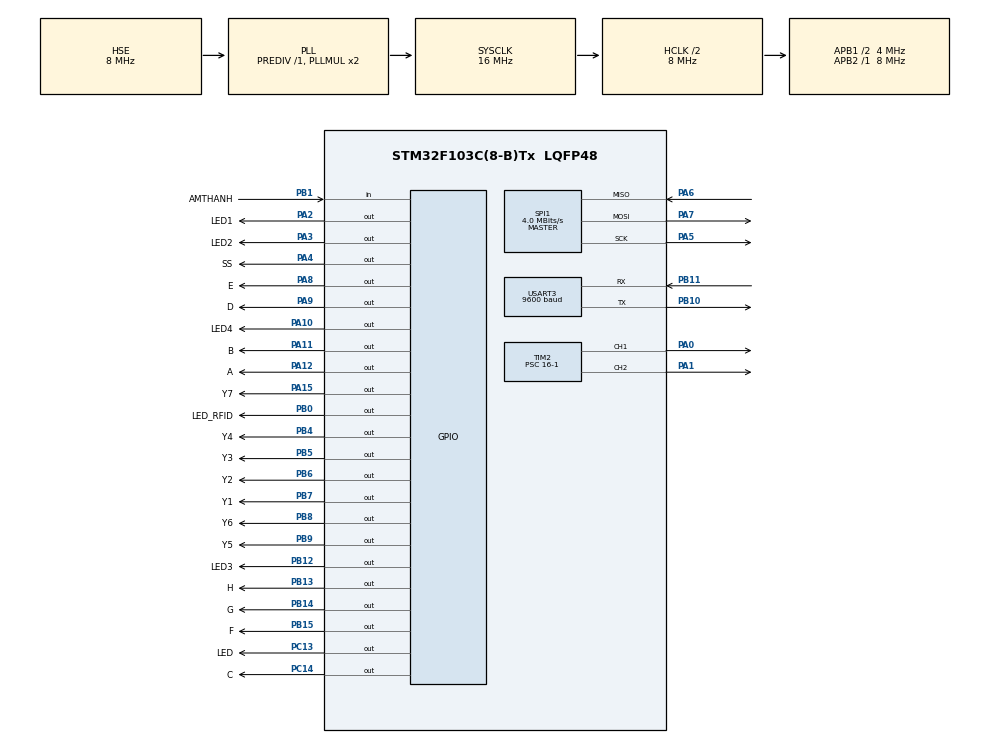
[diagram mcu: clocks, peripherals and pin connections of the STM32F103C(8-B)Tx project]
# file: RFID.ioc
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Mcu.Family=STM32F1
NVIC.USART3_IRQn=true\:0\:0\:false\:false\:true\:true\:true
PA6.Mode=Full_Duplex_Master
SPI1.VirtualType=VM_MASTER
PB10.Mode=Asynchronous
PB14.GPIO_Label=G
PB0.GPIO_Label=LED_RFID
PB6.GPIO_Label=Y2
TIM2.Channel-PWM\ Generation2\ CH2=TIM_CHANNEL_2
PB13.GPIO_Label=H
PB11.Signal=USART3_RX
PB13.Signal=GPIO_Output
PB15.Signal=GPIO_Output
RCC.SYSCLKSource=RCC_SYSCLKSOURCE_PLLCLK
ProjectManager.StackSize=0x400
PD1-OSC_OUT.Signal=RCC_OSC_OUT
PA15.GPIO_Label=Y7
PA12.Signal=GPIO_Output
USART3.BaudRate=9600
SPI1.Direction=SPI_DIRECTION_2LINES
PB1.GPIO_PuPd=GPIO_PULLDOWN
RCC.HCLKFreq_Value=8000000
RCC.APB2TimFreq_Value=8000000
PB6.Signal=GPIO_Output
SPI1.CalculateBaudRate=4.0 MBits/s
RCC.AHBFreq_Value=8000000
PB12.GPIO_Label=LED3
PA14.Mode=Serial_Wire
PB1.GPIO_Label=AMTHANH
NVIC.TIM2_IRQn=true\:0\:0\:false\:false\:true\:true\:true
PA10.GPIO_Label=LED4
PB7.Signal=GPIO_Output
PA8.Signal=GPIO_Output
TIM2.Channel-PWM\ Generation1\ CH1=TIM_CHANNEL_1
PB7.GPIO_Label=Y1
Mcu.Package=LQFP48
PB9.Signal=GPIO_Output
TIM2.Prescaler=16-1
PB1.Signal=GPIO_Input
PA6.Signal=SPI1_MISO
PA2.GPIO_Label=LED1
PA10.Signal=GPIO_Output
PA15.Signal=GPIO_Output
PB5.GPIO_Label=Y3
RCC.APB1TimFreq_Value=8000000
PC14-OSC32_IN.GPIO_Label=C
SPI1.BaudRatePrescaler=SPI_BAUDRATEPRESCALER_2
PA4.GPIO_Label=SS
PB4.Signal=GPIO_Output
PA3.Signal=GPIO_Output
PA5.Mode=Full_Duplex_Master
RCC.PLLSourceVirtual=RCC_PLLSOURCE_HSE
PA7.Mode=Full_Duplex_Master
PD1-OSC_OUT.Mode=HSE-External-Oscillator
PB9.GPIO_Label=Y5
PA9.GPIO_Label=D
PC13-TAMPER-RTC.Signal=GPIO_Output
PA11.GPIO_Label=B
PD0-OSC_IN.Signal=RCC_OSC_IN
RCC.APB1CLKDivider=RCC_HCLK_DIV2
PC14-OSC32_IN.Signal=GPIO_Output
PA12.GPIO_Label=A
PA0-WKUP.Signal=S_TIM2_CH1_ETR
PA13.Signal=SYS_JTMS-SWDIO
PB8.GPIO_Label=Y6
SH.S_TIM2_CH2.0=TIM2_CH2,PWM Generation2 CH2
PA8.GPIO_Label=E
PB11.Mode=Asynchronous
ProjectManager.TargetToolchain=STM32CubeIDE
PA9.Signal=GPIO_Output
RCC.USBFreq_Value=16000000
PA1.Signal=S_TIM2_CH2
PD0-OSC_IN.Mode=HSE-External-Oscillator
PB10.Signal=USART3_TX
PB14.Signal=GPIO_Output
PA5.Signal=SPI1_SCK
board=custom
PC13-TAMPER-RTC.GPIO_Label=LED
RCC.APB2Freq_Value=8000000
PB4.GPIO_Label=Y4
PB15.GPIO_Label=F
VP_TIM2_VS_ClockSourceINT.Mode=Internal
SPI1.Mode=SPI_MODE_MASTER
RCC.AHBCLKDivider=RCC_SYSCLK_DIV2
TIM2.Period=10000-1
PA13.Mode=Serial_Wire
Mcu.Name=STM32F103C(8-B)Tx
PA2.Signal=GPIO_Output
PA4.Signal=GPIO_Output
RCC.SYSCLKFreq_VALUE=16000000
PB5.Signal=GPIO_Output
USART3.VirtualMode=VM_ASYNC
PA11.Signal=GPIO_Output
SH.S_TIM2_CH1_ETR.0=TIM2_CH1,PWM Generation1 CH1
PA14.Signal=SYS_JTCK-SWCLK
ProjectManager.HeapSize=0x200
NVIC.PriorityGroup=NVIC_PRIORITYGROUP_4
PB8.Signal=GPIO_Output
RCC.APB1Freq_Value=4000000
PB0.Signal=GPIO_Output
PB12.Signal=GPIO_Output
PA3.GPIO_Label=LED2
PA7.Signal=SPI1_MOSI

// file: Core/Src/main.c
/* USER CODE BEGIN Header */
/**
 ******************************************************************************
 * @file           : main.c
 * @brief          : Main program body
 ******************************************************************************
 * @attention
 *
 * <h2><center>&copy; Copyright (c) 2023 STMicroelectronics.
 * All rights reserved.</center></h2>
 *
 * This software component is licensed by ST under BSD 3-Clause license,
 * the "License"; You may not use this file except in compliance with the
 * License. You may obtain a copy of the License at:
 *                        opensource.org/licenses/BSD-3-Clause
 *
 ******************************************************************************
 */
/* USER CODE END Header */
#include "main.h"

/* USER CODE BEGIN Includes */
#include "rc522.h"
#include "stdio.h"
#include "string.h"
/* USER CODE END Includes */

SPI_HandleTypeDef hspi1;

TIM_HandleTypeDef htim2;

UART_HandleTypeDef huart3;

void SystemClock_Config(void);
static void MX_GPIO_Init(void);
static void MX_SPI1_Init(void);
static void MX_TIM2_Init(void);
static void MX_USART3_UART_Init(void);

/* USER CODE BEGIN 0 */
uint8_t CardID[5];
uint8_t CardID_s[5];
uint8_t MyID1[5] = { 0x26, 0x35, 0xaf, 0xac, 0xb3 };
uint8_t MyID2[5] = { 0x26, 0xfc, 0x5, 0xad, 0x11 };
uint8_t MyID3[5] = { 0x26, 0x52, 0xe, 0xad, 0x24 };
uint8_t MyID4[5] = { 0x26, 0x36, 0xf, 0xad, 0x11 };
uint8_t MyID5[5] = { 0x26, 0x5, 0x94, 0xac, 0x8 };

uint8_t Status = 0;
uint8_t Status1 = 0;
uint8_t Status2 = 0;
uint8_t Status3 = 0;
uint8_t Status4 = 0;
uint8_t Status5 = 0;

uint32_t t_prev = 0;
uint32_t t_prev2 = 0;
uint32_t t_prev3 = 0;
uint8_t DataRx[20];
uint8_t bufferRx[32];
uint8_t indexx;
uint8_t flag_Rx = 0;
uint8_t num = 0, num1 = 0, num2 = 0, num3 = 0, num4 = 0, num5 = 0;
void check_out() {
	if (strcmp((char*) DataRx, "1\r\n") == 0) {
		num1 = 0;
	} else if (strcmp((char*) DataRx, "2\r\n") == 0) {
		num2 = 0;
	} else if (strcmp((char*) DataRx, "3\r\n") == 0) {
		num3 = 0;
	} else if (strcmp((char*) DataRx, "4\r\n") == 0) {
		num4 = 0;
	}
	num--;
	if (num == 0) {
		num = 0;
	}
	t_prev3 = HAL_GetTick();
	Status2 = 1;
}
void HAL_UARTEx_RxEventCallback(UART_HandleTypeDef *huart, uint16_t Size) {
	flag_Rx = 1;

	HAL_UARTEx_ReceiveToIdle_IT(&huart3, DataRx, sizeof(DataRx));
}
uint8_t segmentNumber[10] = { 0xC0, 0xF9, 0xA4, 0xB0, 0x99, 0x92, 0x82, 0xF8,
		0x80, 0x90 };

void NumWrite(uint8_t number) {
	HAL_GPIO_WritePin(A_GPIO_Port, A_Pin, ((number >> 0) & 0x01));
	HAL_GPIO_WritePin(B_GPIO_Port, B_Pin, ((number >> 1) & 0x01));
	HAL_GPIO_WritePin(C_GPIO_Port, C_Pin, ((number >> 2) & 0x01));
	HAL_GPIO_WritePin(D_GPIO_Port, D_Pin, ((number >> 3) & 0x01));
	HAL_GPIO_WritePin(E_GPIO_Port, E_Pin, ((number >> 4) & 0x01));
	HAL_GPIO_WritePin(F_GPIO_Port, F_Pin, ((number >> 5) & 0x01));
	HAL_GPIO_WritePin(G_GPIO_Port, G_Pin, ((number >> 6) & 0x01));
}
void servo_in_ON() {
	__HAL_TIM_SET_COMPARE(&htim2, TIM_CHANNEL_2, 750);  // duty cycle is 2ms
}
void servo_in_OFF() {
	__HAL_TIM_SET_COMPARE(&htim2, TIM_CHANNEL_2, 250);  // duty cycle is 1 ms
}
int a = 1;
int b = 1;
int c = 1;
int d = 1;
uint8_t loa5;
uint64_t time;
/* USER CODE END 0 */

int main(void)
{

  /* MCU Configuration--------------------------------------------------------*/

  /* Reset of all peripherals, Initializes the Flash interface and the Systick. */
  HAL_Init();

  /* Configure the system clock */
  SystemClock_Config();

  /* Initialize all configured peripherals */
  MX_GPIO_Init();
  MX_SPI1_Init();
  MX_TIM2_Init();
  MX_USART3_UART_Init();
  /* USER CODE BEGIN 2 */

	HAL_GPIO_WritePin(A_GPIO_Port, A_Pin, 0);
	HAL_GPIO_WritePin(B_GPIO_Port, B_Pin, 0);
	HAL_GPIO_WritePin(C_GPIO_Port, C_Pin, 0);
	HAL_GPIO_WritePin(D_GPIO_Port, D_Pin, 0);
	HAL_GPIO_WritePin(E_GPIO_Port, E_Pin, 0);
	HAL_GPIO_WritePin(F_GPIO_Port, F_Pin, 0);
	HAL_GPIO_WritePin(G_GPIO_Port, G_Pin, 0);
	//HAL_GPIO_WritePin(H_GPIO_Port, H_Pin, 0);

	HAL_UARTEx_ReceiveToIdle_IT(&huart3, DataRx, sizeof(DataRx));

	HAL_TIM_PWM_Start(&htim2, TIM_CHANNEL_2);
	TM_MFRC522_Init();
	HAL_GPIO_WritePin(LED_GPIO_Port, LED_Pin, 2);

	HAL_GPIO_WritePin(Y1_GPIO_Port, Y1_Pin, 1);
	HAL_GPIO_WritePin(Y2_GPIO_Port, Y2_Pin, 1);
	HAL_GPIO_WritePin(Y3_GPIO_Port, Y3_Pin, 1);
	HAL_GPIO_WritePin(Y4_GPIO_Port, Y4_Pin, 1);
	HAL_GPIO_WritePin(Y5_GPIO_Port, Y5_Pin, 1);
	HAL_GPIO_WritePin(Y6_GPIO_Port, Y4_Pin, 1);
	HAL_GPIO_WritePin(Y7_GPIO_Port, Y5_Pin, 1);
  /* USER CODE END 2 */

  /* Infinite loop */
  /* USER CODE BEGIN WHILE */
	while (1) {
		if (flag_Rx == 1) {
			check_out();
			memset(DataRx, 0, strlen((char*) DataRx));
			flag_Rx = 0;
		}
		if (HAL_GetTick() - t_prev >= 100) {
			num = num1 + num2 + num3 + num4 + num5;
			if (!TM_MFRC522_Request(PICC_REQIDL, CardID)) {
				if (!TM_MFRC522_Anticoll(CardID)) {
					if (TM_MFRC522_Compare(CardID, MyID1) != MI_OK
							&& TM_MFRC522_Compare(CardID, MyID2) != MI_OK
							&& TM_MFRC522_Compare(CardID, MyID3) != MI_OK
							&& TM_MFRC522_Compare(CardID, MyID4) != MI_OK
							&& TM_MFRC522_Compare(CardID, MyID5) != MI_OK) {
						Status = 1;
						HAL_GPIO_WritePin(Y7_GPIO_Port, Y7_Pin, 0);
					}
					if (num >= 4) {
						Status1 = 1;
						HAL_GPIO_WritePin(Y6_GPIO_Port, Y6_Pin, 0);
					} else {
						if (TM_MFRC522_Compare(CardID, MyID1) == MI_OK) {
							HAL_GPIO_WritePin(LED1_GPIO_Port, LED1_Pin, 1);
							servo_in_ON();
							num1 = 1;
							Status1 = 1;
							HAL_GPIO_WritePin(Y1_GPIO_Port, Y1_Pin, 0);
						} else if (TM_MFRC522_Compare(CardID, MyID2) == MI_OK) {
							HAL_GPIO_WritePin(LED2_GPIO_Port, LED2_Pin, 1);
							servo_in_ON();
							num2 = 1;
							Status1 = 1;
							HAL_GPIO_WritePin(Y2_GPIO_Port, Y2_Pin, 0);
						} else if (TM_MFRC522_Compare(CardID, MyID3) == MI_OK) {
							HAL_GPIO_WritePin(LED3_GPIO_Port, LED3_Pin, 1);
							servo_in_ON();
							num3 = 1;
							Status1 = 1;
							HAL_GPIO_WritePin(Y3_GPIO_Port, Y3_Pin, 0);
						} else if (TM_MFRC522_Compare(CardID, MyID4) == MI_OK) {
							HAL_GPIO_WritePin(LED4_GPIO_Port, LED4_Pin, 1);
							servo_in_ON();
							num4 = 1;
							Status1 = 1;
							HAL_GPIO_WritePin(Y4_GPIO_Port, Y4_Pin, 0);
						} else if (TM_MFRC522_Compare(CardID, MyID5) == MI_OK) {
							HAL_GPIO_WritePin(LED4_GPIO_Port, LED4_Pin, 1);
							servo_in_ON();
							num5 = 1;
							Status1 = 1;
							HAL_GPIO_WritePin(Y4_GPIO_Port, Y4_Pin, 0);
						}
					}

				}
				t_prev2 = HAL_GetTick();
			}
			Status1 = 1;
			t_prev = HAL_GetTick();
		}
		NumWrite(segmentNumber[num]);
		if (Status2 == 1) {
			HAL_GPIO_WritePin(Y5_GPIO_Port, Y5_Pin, 0);
			if (HAL_GetTick() - t_prev3 >= 100) {
				Status2 = 0;
				HAL_GPIO_WritePin(Y5_GPIO_Port, Y5_Pin, 1);
				t_prev3 = HAL_GetTick();
			}
		}
		if (Status1 == 1) {
			if (HAL_GetTick() - t_prev2 >= 5000) {			// 5000
				HAL_GPIO_WritePin(LED1_GPIO_Port, LED1_Pin, 0);
				HAL_GPIO_WritePin(LED2_GPIO_Port, LED2_Pin, 0);
				HAL_GPIO_WritePin(LED3_GPIO_Port, LED3_Pin, 0);
				HAL_GPIO_WritePin(LED4_GPIO_Port, LED4_Pin, 0);
				HAL_GPIO_WritePin(Y1_GPIO_Port, Y1_Pin, 1);
				HAL_GPIO_WritePin(Y2_GPIO_Port, Y2_Pin, 1);
				HAL_GPIO_WritePin(Y3_GPIO_Port, Y3_Pin, 1);
				HAL_GPIO_WritePin(Y4_GPIO_Port, Y4_Pin, 1);
				HAL_GPIO_WritePin(Y5_GPIO_Port, Y5_Pin, 1);
				HAL_GPIO_WritePin(Y6_GPIO_Port, Y6_Pin, 1);
				HAL_GPIO_WritePin(Y7_GPIO_Port, Y7_Pin, 1);
				servo_in_OFF();
				HAL_GPIO_WritePin(LED_GPIO_Port, LED_Pin, 1);
				t_prev2 = HAL_GetTick();

				memset(CardID, 0, strlen((char*) CardID));
				Status1 = 0;
			}
		}

	}
    /* USER CODE END WHILE */

}

void SystemClock_Config(void)
{
  RCC_OscInitTypeDef RCC_OscInitStruct = {0};
  RCC_ClkInitTypeDef RCC_ClkInitStruct = {0};

  /** Initializes the RCC Oscillators according to the specified parameters
  * in the RCC_OscInitTypeDef structure.
  */
  RCC_OscInitStruct.OscillatorType = RCC_OSCILLATORTYPE_HSE;
  RCC_OscInitStruct.HSEState = RCC_HSE_ON;
  RCC_OscInitStruct.HSEPredivValue = RCC_HSE_PREDIV_DIV1;
  RCC_OscInitStruct.HSIState = RCC_HSI_ON;
  RCC_OscInitStruct.PLL.PLLState = RCC_PLL_ON;
  RCC_OscInitStruct.PLL.PLLSource = RCC_PLLSOURCE_HSE;
  RCC_OscInitStruct.PLL.PLLMUL = RCC_PLL_MUL2;
  if (HAL_RCC_OscConfig(&RCC_OscInitStruct) != HAL_OK)
  {
    Error_Handler();
  }
  /** Initializes the CPU, AHB and APB buses clocks
  */
  RCC_ClkInitStruct.ClockType = RCC_CLOCKTYPE_HCLK|RCC_CLOCKTYPE_SYSCLK
                              |RCC_CLOCKTYPE_PCLK1|RCC_CLOCKTYPE_PCLK2;
  RCC_ClkInitStruct.SYSCLKSource = RCC_SYSCLKSOURCE_PLLCLK;
  RCC_ClkInitStruct.AHBCLKDivider = RCC_SYSCLK_DIV2;
  RCC_ClkInitStruct.APB1CLKDivider = RCC_HCLK_DIV2;
  RCC_ClkInitStruct.APB2CLKDivider = RCC_HCLK_DIV1;

  if (HAL_RCC_ClockConfig(&RCC_ClkInitStruct, FLASH_LATENCY_0) != HAL_OK)
  {
    Error_Handler();
  }
}

static void MX_SPI1_Init(void)
{

  /* SPI1 parameter configuration*/
  hspi1.Instance = SPI1;
  hspi1.Init.Mode = SPI_MODE_MASTER;
  hspi1.Init.Direction = SPI_DIRECTION_2LINES;
  hspi1.Init.DataSize = SPI_DATASIZE_8BIT;
  hspi1.Init.CLKPolarity = SPI_POLARITY_LOW;
  hspi1.Init.CLKPhase = SPI_PHASE_1EDGE;
  hspi1.Init.NSS = SPI_NSS_SOFT;
  hspi1.Init.BaudRatePrescaler = SPI_BAUDRATEPRESCALER_2;
  hspi1.Init.FirstBit = SPI_FIRSTBIT_MSB;
  hspi1.Init.TIMode = SPI_TIMODE_DISABLE;
  hspi1.Init.CRCCalculation = SPI_CRCCALCULATION_DISABLE;
  hspi1.Init.CRCPolynomial = 10;
  if (HAL_SPI_Init(&hspi1) != HAL_OK)
  {
    Error_Handler();
  }

}

static void MX_TIM2_Init(void)
{

  TIM_ClockConfigTypeDef sClockSourceConfig = {0};
  TIM_MasterConfigTypeDef sMasterConfig = {0};
  TIM_OC_InitTypeDef sConfigOC = {0};

  htim2.Instance = TIM2;
  htim2.Init.Prescaler = 16-1;
  htim2.Init.CounterMode = TIM_COUNTERMODE_UP;
  htim2.Init.Period = 10000-1;
  htim2.Init.ClockDivision = TIM_CLOCKDIVISION_DIV1;
  htim2.Init.AutoReloadPreload = TIM_AUTORELOAD_PRELOAD_DISABLE;
  if (HAL_TIM_Base_Init(&htim2) != HAL_OK)
  {
    Error_Handler();
  }
  sClockSourceConfig.ClockSource = TIM_CLOCKSOURCE_INTERNAL;
  if (HAL_TIM_ConfigClockSource(&htim2, &sClockSourceConfig) != HAL_OK)
  {
    Error_Handler();
  }
  if (HAL_TIM_PWM_Init(&htim2) != HAL_OK)
  {
    Error_Handler();
  }
  sMasterConfig.MasterOutputTrigger = TIM_TRGO_RESET;
  sMasterConfig.MasterSlaveMode = TIM_MASTERSLAVEMODE_DISABLE;
  if (HAL_TIMEx_MasterConfigSynchronization(&htim2, &sMasterConfig) != HAL_OK)
  {
    Error_Handler();
  }
  sConfigOC.OCMode = TIM_OCMODE_PWM1;
  sConfigOC.Pulse = 0;
  sConfigOC.OCPolarity = TIM_OCPOLARITY_HIGH;
  sConfigOC.OCFastMode = TIM_OCFAST_DISABLE;
  if (HAL_TIM_PWM_ConfigChannel(&htim2, &sConfigOC, TIM_CHANNEL_1) != HAL_OK)
  {
    Error_Handler();
  }
  if (HAL_TIM_PWM_ConfigChannel(&htim2, &sConfigOC, TIM_CHANNEL_2) != HAL_OK)
  {
    Error_Handler();
  }
  HAL_TIM_MspPostInit(&htim2);

}

static void MX_USART3_UART_Init(void)
{

  huart3.Instance = USART3;
  huart3.Init.BaudRate = 9600;
  huart3.Init.WordLength = UART_WORDLENGTH_8B;
  huart3.Init.StopBits = UART_STOPBITS_1;
  huart3.Init.Parity = UART_PARITY_NONE;
  huart3.Init.Mode = UART_MODE_TX_RX;
  huart3.Init.HwFlowCtl = UART_HWCONTROL_NONE;
  huart3.Init.OverSampling = UART_OVERSAMPLING_16;
  if (HAL_UART_Init(&huart3) != HAL_OK)
  {
    Error_Handler();
  }

}

static void MX_GPIO_Init(void)
{
  GPIO_InitTypeDef GPIO_InitStruct = {0};

  /* GPIO Ports Clock Enable */
  __HAL_RCC_GPIOC_CLK_ENABLE();
  __HAL_RCC_GPIOD_CLK_ENABLE();
  __HAL_RCC_GPIOA_CLK_ENABLE();
  __HAL_RCC_GPIOB_CLK_ENABLE();

  /*Configure GPIO pin Output Level */
  HAL_GPIO_WritePin(GPIOC, LED_Pin|C_Pin, GPIO_PIN_RESET);

  /*Configure GPIO pin Output Level */
  HAL_GPIO_WritePin(GPIOA, LED1_Pin|LED2_Pin|SS_Pin|E_Pin
                          |D_Pin|LED4_Pin|B_Pin|A_Pin
                          |Y7_Pin, GPIO_PIN_RESET);

  /*Configure GPIO pin Output Level */
  HAL_GPIO_WritePin(GPIOB, LED_RFID_Pin|LED3_Pin|H_Pin|G_Pin
                          |F_Pin|Y4_Pin|Y3_Pin|Y2_Pin
                          |Y1_Pin|Y6_Pin|Y5_Pin, GPIO_PIN_RESET);

  /*Configure GPIO pins : LED_Pin C_Pin */
  GPIO_InitStruct.Pin = LED_Pin|C_Pin;
  GPIO_InitStruct.Mode = GPIO_MODE_OUTPUT_PP;
  GPIO_InitStruct.Pull = GPIO_NOPULL;
  GPIO_InitStruct.Speed = GPIO_SPEED_FREQ_LOW;
  HAL_GPIO_Init(GPIOC, &GPIO_InitStruct);

  /*Configure GPIO pins : LED1_Pin LED2_Pin SS_Pin E_Pin
                           D_Pin LED4_Pin B_Pin A_Pin
                           Y7_Pin */
  GPIO_InitStruct.Pin = LED1_Pin|LED2_Pin|SS_Pin|E_Pin
                          |D_Pin|LED4_Pin|B_Pin|A_Pin
                          |Y7_Pin;
  GPIO_InitStruct.Mode = GPIO_MODE_OUTPUT_PP;
  GPIO_InitStruct.Pull = GPIO_NOPULL;
  GPIO_InitStruct.Speed = GPIO_SPEED_FREQ_LOW;
  HAL_GPIO_Init(GPIOA, &GPIO_InitStruct);

  /*Configure GPIO pins : LED_RFID_Pin LED3_Pin H_Pin G_Pin
                           F_Pin Y4_Pin Y3_Pin Y2_Pin
                           Y1_Pin Y6_Pin Y5_Pin */
  GPIO_InitStruct.Pin = LED_RFID_Pin|LED3_Pin|H_Pin|G_Pin
                          |F_Pin|Y4_Pin|Y3_Pin|Y2_Pin
                          |Y1_Pin|Y6_Pin|Y5_Pin;
  GPIO_InitStruct.Mode = GPIO_MODE_OUTPUT_PP;
  GPIO_InitStruct.Pull = GPIO_NOPULL;
  GPIO_InitStruct.Speed = GPIO_SPEED_FREQ_LOW;
  HAL_GPIO_Init(GPIOB, &GPIO_InitStruct);

  /*Configure GPIO pin : AMTHANH_Pin */
  GPIO_InitStruct.Pin = AMTHANH_Pin;
  GPIO_InitStruct.Mode = GPIO_MODE_INPUT;
  GPIO_InitStruct.Pull = GPIO_PULLDOWN;
  HAL_GPIO_Init(AMTHANH_GPIO_Port, &GPIO_InitStruct);

}

void Error_Handler(void)
{
	__disable_irq();
	while (1) {
	}
}

/************************ (C) COPYRIGHT STMicroelectronics *****END OF FILE****/
